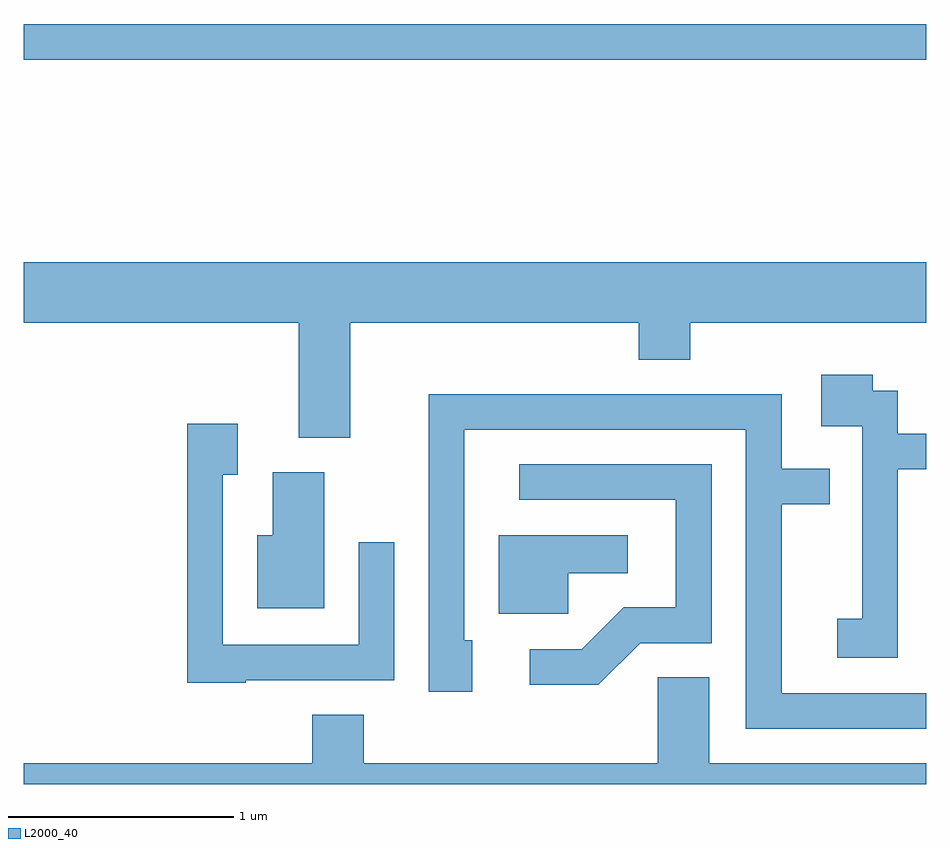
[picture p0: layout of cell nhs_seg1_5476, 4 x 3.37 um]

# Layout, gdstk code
import gdstk
lib = gdstk.Library(unit=1e-6, precision=1e-09)
def R(c, l, rs):  # rectangles x0, y0, x1, y1
    for r in rs: c.add(gdstk.rectangle(r[:2], r[2:], *l))
def P(c, l, *ps):  # polygons
    for p in ps: c.add(gdstk.Polygon(p, *l))
L2000_40 = (2000, 40)

nhs_seg1_5476 = lib.new_cell('nhs_seg1_5476')
R(nhs_seg1_5476, L2000_40, [(349.611,942.921,353.611,943.079)])
P(nhs_seg1_5476, L2000_40, [(351.059,941.756),(352.336,941.756),(352.336,941.591),(352.564,941.591),(352.564,941.756),(353.611,941.756),(353.611,942.024),(349.611,942.024),(349.611,941.756),(350.831,941.756),(350.831,941.246),(351.059,941.246)],
  [(353.484,941.106),(353.611,941.106),(353.611,941.264),(353.484,941.264),(353.484,941.454),(353.374,941.454),(353.374,941.524),(353.146,941.524),(353.146,941.296),(353.326,941.296),(353.326,940.444),(353.216,940.444),(353.216,940.271),(353.484,940.271)],
  [(353.611,940.114),(352.969,940.114),(352.969,940.951),(353.183,940.951),(353.183,941.109),(352.969,941.109),(352.969,941.439),(351.406,941.439),(351.406,940.121),(351.599,940.121),(351.599,940.349),(351.564,940.349),(351.564,941.281),(352.811,941.281),(352.811,939.956),(353.611,939.956)],
  [(350.595,940.171),(351.254,940.171),(351.254,940.783),(351.096,940.783),(351.096,940.329),(350.494,940.329),(350.494,941.081),(350.559,941.081),(350.559,941.309),(350.336,941.309),(350.336,940.161),(350.595,940.161)],
  [(352.342,940.336),(352.659,940.336),(352.659,941.129),(351.808,941.129),(351.808,940.971),(352.501,940.971),(352.501,940.494),(352.269,940.494),(352.084,940.309),(351.853,940.309),(351.853,940.151),(352.157,940.151)],
  [(350.944,941.094),(350.716,941.094),(350.716,940.814),(350.646,940.814),(350.646,940.491),(350.944,940.491)],
  [(352.024,940.646),(352.288,940.646),(352.288,940.814),(351.716,940.814),(351.716,940.466),(352.024,940.466)],
  [(353.611,939.804),(352.649,939.804),(352.649,940.184),(352.421,940.184),(352.421,939.804),(351.119,939.804),(351.119,940.019),(350.891,940.019),(350.891,939.804),(349.611,939.804),(349.611,939.712),(353.611,939.712)])

lib.write_gds('nhs_seg1_5476.gds')
